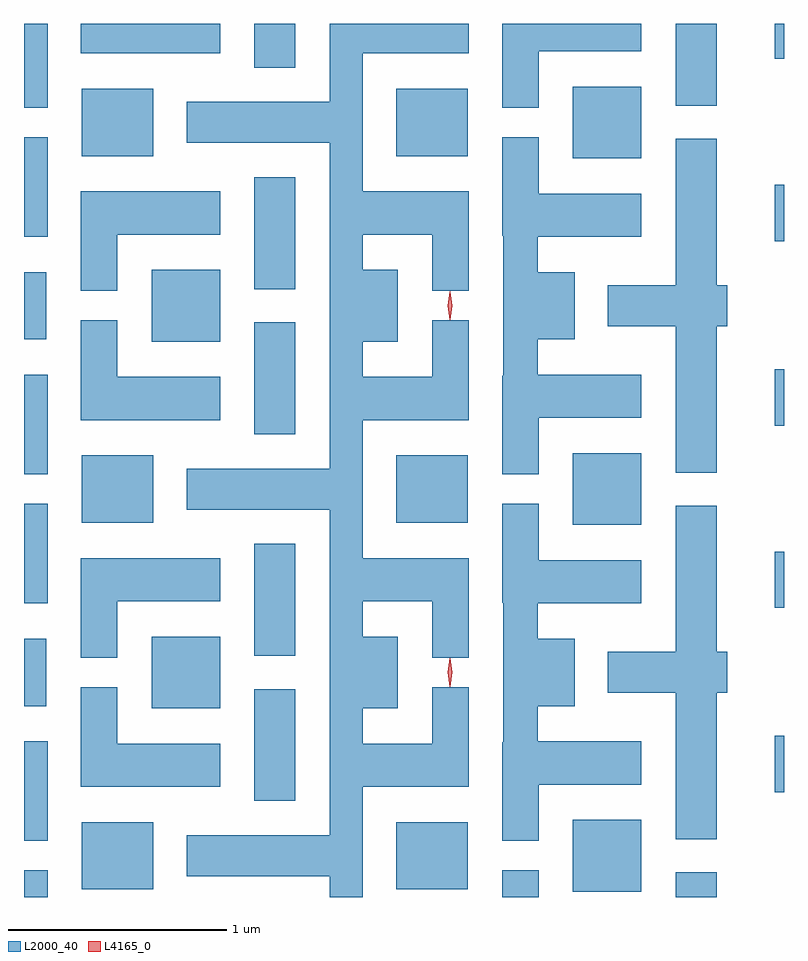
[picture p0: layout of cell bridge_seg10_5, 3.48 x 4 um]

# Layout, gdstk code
import gdstk
lib = gdstk.Library(unit=1e-6, precision=1e-09)
def R(c, l, rs):  # rectangles x0, y0, x1, y1
    for r in rs: c.add(gdstk.rectangle(r[:2], r[2:], *l))
def A(c, l, x, y, w, h, nx, ny, dx, dy):  # array of equal rectangles
    R(c, l, [(x+i*dx, y+j*dy, x+i*dx+w, y+j*dy+h) for i in range(nx) for j in range(ny)])
def P(c, l, *ps):  # polygons
    for p in ps: c.add(gdstk.Polygon(p, *l))
L2000_40 = (2000, 40)
L4165_0 = (4165, 0)

bridge_seg10_5 = lib.new_cell('bridge_seg10_5')
A(bridge_seg10_5, L2000_40, 1913.356, 2164.806, 0.313, 0.328, 1, 3, 0, 1.68)
A(bridge_seg10_5, L2000_40, 1911.106, 2164.816, 0.328, 0.308, 1, 3, 0, 1.68)
A(bridge_seg10_5, L2000_40, 1912.546, 2164.816, 0.328, 0.308, 1, 3, 0, 1.68)
R(bridge_seg10_5, L2000_40, [(1910.841,2164.781,1910.949,2164.903), (1913.031,2164.781,1913.199,2164.903), (1913.826,2164.781,1914.014,2164.894), (1910.841,2165.038,1910.949,2165.494), (1911.896,2165.221,1912.084,2165.734), (1914.281,2165.261,1914.323,2165.519), (1911.426,2165.646,1911.739,2165.974), (1910.841,2165.656,1910.944,2165.964), (1911.896,2165.886,1912.084,2166.399), (1914.281,2166.106,1914.323,2166.364), (1910.841,2166.126,1910.949,2166.583), (1910.841,2166.718,1910.949,2167.174), (1911.896,2166.901,1912.084,2167.414), (1914.281,2166.941,1914.323,2167.199), (1911.426,2167.326,1911.739,2167.654), (1910.841,2167.336,1910.944,2167.644), (1911.896,2167.566,1912.084,2168.079), (1914.281,2167.786,1914.323,2168.044), (1910.841,2167.806,1910.949,2168.263), (1910.841,2168.398,1910.949,2168.781), (1913.826,2168.406,1914.014,2168.781), (1911.896,2168.581,1912.084,2168.781), (1914.281,2168.621,1914.323,2168.781), (1911.101,2168.646,1911.739,2168.781)])
P(bridge_seg10_5, L2000_40, [(1911.586,2166.744),(1911.586,2166.556),(1912.241,2166.556),(1912.241,2165.064),(1911.586,2165.064),(1911.586,2164.876),(1912.241,2164.876),(1912.241,2164.781),(1912.394,2164.781),(1912.394,2165.286),(1912.879,2165.286),(1912.879,2165.743),(1912.711,2165.743),(1912.711,2165.484),(1912.394,2165.484),(1912.394,2165.646),(1912.554,2165.646),(1912.554,2165.974),(1912.394,2165.974),(1912.394,2166.136),(1912.711,2166.136),(1912.711,2165.878),(1912.879,2165.878),(1912.879,2166.334),(1912.394,2166.334),(1912.394,2166.966),(1912.879,2166.966),(1912.879,2167.423),(1912.711,2167.423),(1912.711,2167.164),(1912.394,2167.164),(1912.394,2167.326),(1912.554,2167.326),(1912.554,2167.654),(1912.394,2167.654),(1912.394,2167.816),(1912.711,2167.816),(1912.711,2167.558),(1912.879,2167.558),(1912.879,2168.014),(1912.394,2168.014),(1912.394,2168.646),(1912.879,2168.646),(1912.879,2168.781),(1912.241,2168.781),(1912.241,2168.424),(1911.586,2168.424),(1911.586,2168.236),(1912.241,2168.236),(1912.241,2166.744)],
  [(1913.199,2168.656),(1913.669,2168.656),(1913.669,2168.781),(1913.031,2168.781),(1913.031,2168.398),(1913.199,2168.398)],
  [(1913.199,2166.976),(1913.669,2166.976),(1913.669,2167.174),(1913.194,2167.174),(1913.194,2167.336),(1913.364,2167.336),(1913.364,2167.644),(1913.194,2167.644),(1913.194,2167.806),(1913.669,2167.806),(1913.669,2168.004),(1913.199,2168.004),(1913.199,2168.263),(1913.031,2168.263),(1913.031,2167.81),(1913.036,2167.81),(1913.036,2167.17),(1913.031,2167.17),(1913.031,2166.718),(1913.199,2166.718)],
  [(1914.014,2167.396),(1914.064,2167.396),(1914.064,2167.584),(1914.014,2167.584),(1914.014,2168.254),(1913.826,2168.254),(1913.826,2167.584),(1913.516,2167.584),(1913.516,2167.396),(1913.826,2167.396),(1913.826,2166.726),(1914.014,2166.726)],
  [(1911.269,2167.816),(1911.739,2167.816),(1911.739,2168.014),(1911.101,2168.014),(1911.101,2167.558),(1911.269,2167.558)],
  [(1911.739,2167.164),(1911.269,2167.164),(1911.269,2167.423),(1911.101,2167.423),(1911.101,2166.966),(1911.739,2166.966)],
  [(1913.199,2165.296),(1913.669,2165.296),(1913.669,2165.494),(1913.194,2165.494),(1913.194,2165.656),(1913.364,2165.656),(1913.364,2165.964),(1913.194,2165.964),(1913.194,2166.126),(1913.669,2166.126),(1913.669,2166.324),(1913.199,2166.324),(1913.199,2166.583),(1913.031,2166.583),(1913.031,2166.13),(1913.036,2166.13),(1913.036,2165.49),(1913.031,2165.49),(1913.031,2165.038),(1913.199,2165.038)],
  [(1914.014,2165.716),(1914.064,2165.716),(1914.064,2165.904),(1914.014,2165.904),(1914.014,2166.574),(1913.826,2166.574),(1913.826,2165.904),(1913.516,2165.904),(1913.516,2165.716),(1913.826,2165.716),(1913.826,2165.046),(1914.014,2165.046)],
  [(1911.269,2166.136),(1911.739,2166.136),(1911.739,2166.334),(1911.101,2166.334),(1911.101,2165.878),(1911.269,2165.878)],
  [(1911.739,2165.484),(1911.269,2165.484),(1911.269,2165.743),(1911.101,2165.743),(1911.101,2165.286),(1911.739,2165.286)])
P(bridge_seg10_5, L4165_0, [(1912.793,2165.744),(1912.792,2165.745),(1912.783,2165.81),(1912.792,2165.875),(1912.793,2165.876),(1912.793,2165.875),(1912.803,2165.81),(1912.793,2165.745)],
  [(1912.793,2167.424),(1912.792,2167.425),(1912.783,2167.49),(1912.792,2167.555),(1912.793,2167.556),(1912.793,2167.555),(1912.803,2167.49),(1912.793,2167.425)])

lib.write_gds('bridge_seg10_5.gds')
